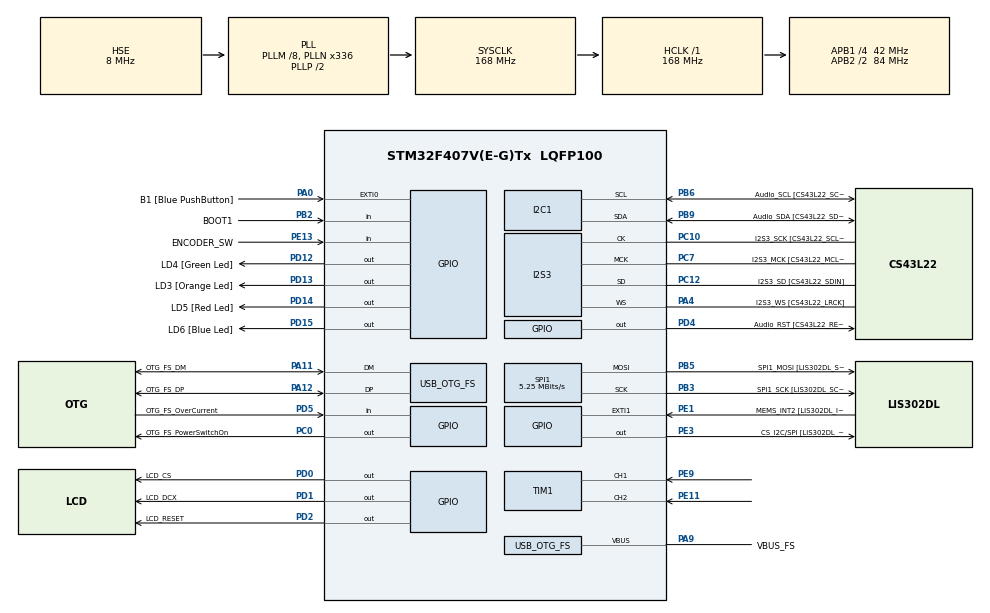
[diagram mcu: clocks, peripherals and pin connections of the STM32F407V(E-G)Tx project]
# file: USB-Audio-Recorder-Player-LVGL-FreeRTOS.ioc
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Dma.Request0=SPI1_TX
Dma.SPI1_TX.0.Direction=DMA_MEMORY_TO_PERIPH
Dma.SPI1_TX.0.FIFOMode=DMA_FIFOMODE_DISABLE
Dma.SPI1_TX.0.Instance=DMA2_Stream3
Dma.SPI1_TX.0.MemDataAlignment=DMA_MDATAALIGN_HALFWORD
Dma.SPI1_TX.0.MemInc=DMA_MINC_ENABLE
Dma.SPI1_TX.0.Mode=DMA_NORMAL
Dma.SPI1_TX.0.PeriphDataAlignment=DMA_PDATAALIGN_HALFWORD
Dma.SPI1_TX.0.PeriphInc=DMA_PINC_DISABLE
Dma.SPI1_TX.0.Priority=DMA_PRIORITY_MEDIUM
FREERTOS.Queues01=UiEventQueue,8,AppEvent,0,Dynamic,NULL,NULL
FREERTOS.Tasks01=StorageTask,16,1536,StartStorageTask,Default,NULL,Dynamic,NULL,NULL;AudioTask,32,1024,StartAudioTask,Default,NULL,Dynamic,NULL,NULL;UiTask,24,1536,StartUiTask,Default,NULL,Dynamic,NULL,NULL
FREERTOS.configCHECK_FOR_STACK_OVERFLOW=2
FREERTOS.configTOTAL_HEAP_SIZE=24576
FREERTOS.configUSE_MALLOC_FAILED_HOOK=1
I2S3.AudioFreq-Half_Duplex_Master=I2S_AUDIOFREQ_96K
I2S3.ErrorAudioFreq=-2.34 %
I2S3.ErrorAudioFreq-Half_Duplex_Master=0.8 %
I2S3.FullDuplexMode=I2S_FULLDUPLEXMODE_DISABLE
I2S3.Instance=SPI$Index
I2S3.RealAudioFreq=93.75 KHz
I2S3.RealAudioFreq-Half_Duplex_Master=96.774 KHz
I2S3.VirtualMode=I2S_MODE_MASTER
Mcu.Family=STM32F4
Mcu.Name=STM32F407V(E-G)Tx
Mcu.Package=LQFP100
NVIC.DMA2_Stream3_IRQn=true\:5\:0\:false\:false\:true\:true\:false\:true\:true
NVIC.OTG_FS_IRQn=true\:5\:0\:false\:false\:true\:true\:true\:true\:true
NVIC.PriorityGroup=NVIC_PRIORITYGROUP_4
NVIC.SPI1_IRQn=true\:5\:0\:false\:false\:true\:true\:true\:true\:true
NVIC.TIM6_DAC_IRQn=true\:15\:0\:false\:false\:true\:false\:false\:true\:true
NVIC.TimeBase=TIM6_DAC_IRQn
NVIC.TimeBaseIP=TIM6
PA0-WKUP.GPIO_Label=B1 [Blue PushButton]
PA0-WKUP.GPIO_ModeDefaultEXTI=GPIO_MODE_EVT_RISING
PA0-WKUP.GPIO_PuPd=GPIO_NOPULL
PA0-WKUP.Signal=GPXTI0
PA10.GPIO_Label=OTG_FS_ID
PA10.GPIO_Mode=GPIO_MODE_AF_PP
PA10.GPIO_PuPd=GPIO_NOPULL
PA10.GPIO_Speed=GPIO_SPEED_FREQ_LOW
PA10.Signal=USB_OTG_FS_ID
PA11.GPIO_Label=OTG_FS_DM
PA11.GPIO_Mode=GPIO_MODE_AF_PP
PA11.GPIO_PuPd=GPIO_NOPULL
PA11.GPIO_Speed=GPIO_SPEED_FREQ_LOW
PA11.Mode=Host_Only
PA11.Signal=USB_OTG_FS_DM
PA12.GPIO_Label=OTG_FS_DP
PA12.GPIO_Mode=GPIO_MODE_AF_PP
PA12.GPIO_PuPd=GPIO_NOPULL
PA12.GPIO_Speed=GPIO_SPEED_FREQ_LOW
PA12.Mode=Host_Only
PA12.Signal=USB_OTG_FS_DP
PA13.GPIO_Label=SWDIO
PA13.Mode=Serial_Wire
PA13.Signal=SYS_JTMS-SWDIO
PA14.GPIO_Label=SWCLK
PA14.Mode=Serial_Wire
PA14.Signal=SYS_JTCK-SWCLK
PA4.GPIO_Label=I2S3_WS [CS43L22_LRCK]
PA4.GPIO_Mode=GPIO_MODE_AF_PP
PA4.GPIO_PuPd=GPIO_NOPULL
PA4.GPIO_Speed=GPIO_SPEED_FREQ_LOW
PA4.Mode=Half_Duplex_Master
PA4.Signal=I2S3_WS
PA9.GPIO_Label=VBUS_FS
PA9.GPIO_Mode=GPIO_MODE_INPUT
PA9.GPIO_PuPd=GPIO_NOPULL
PA9.Mode=Activate_VBUS
PA9.Signal=USB_OTG_FS_VBUS
PB10.GPIO_Label=CLK_IN [MP45DT02_CLK]
PB10.GPIO_Mode=GPIO_MODE_AF_PP
PB10.GPIO_PuPd=GPIO_NOPULL
PB10.GPIO_Speed=GPIO_SPEED_FREQ_LOW
PB10.Signal=I2S2_CK
PB2.GPIO_Label=BOOT1
PB2.GPIO_Mode=GPIO_MODE_INPUT
PB2.GPIO_PuPd=GPIO_NOPULL
PB2.Signal=GPIO_Input
PB3.GPIO_Label=SPI1_SCK [LIS302DL_SCL/SPC]
PB3.GPIO_Mode=GPIO_MODE_AF_PP
PB3.GPIO_PuPd=GPIO_NOPULL
PB3.GPIO_Speed=GPIO_SPEED_FREQ_HIGH
PB3.Mode=TX_Only_Simplex_Unidirect_Master
PB3.Signal=SPI1_SCK
PB5.GPIO_Label=SPI1_MOSI [LIS302DL_SDA/SDI/SDO]
PB5.GPIO_Mode=GPIO_MODE_AF_PP
PB5.GPIO_PuPd=GPIO_NOPULL
PB5.GPIO_Speed=GPIO_SPEED_FREQ_HIGH
PB5.Mode=TX_Only_Simplex_Unidirect_Master
PB5.Signal=SPI1_MOSI
PB6.GPIO_Label=Audio_SCL [CS43L22_SCL]
PB6.GPIO_Mode=GPIO_MODE_AF_OD
PB6.GPIO_Pu=GPIO_PULLUP
PB6.GPIO_PuPd=GPIO_NOPULL
PB6.GPIO_Speed=GPIO_SPEED_FREQ_LOW
PB6.Mode=I2C
PB6.Signal=I2C1_SCL
PB9.GPIO_Label=Audio_SDA [CS43L22_SDA]
PB9.GPIO_Mode=GPIO_MODE_AF_OD
PB9.GPIO_Pu=GPIO_PULLUP
PB9.GPIO_PuPd=GPIO_NOPULL
PB9.GPIO_Speed=GPIO_SPEED_FREQ_LOW
PB9.Mode=I2C
PB9.Signal=I2C1_SDA
PC0.GPIO_Label=OTG_FS_PowerSwitchOn
PC0.GPIO_PuPd=GPIO_NOPULL
PC0.GPIO_Speed=GPIO_SPEED_FREQ_LOW
PC0.PinState=GPIO_PIN_SET
PC0.Signal=GPIO_Output
PC10.GPIO_Label=I2S3_SCK [CS43L22_SCLK]
PC10.GPIO_Mode=GPIO_MODE_AF_PP
PC10.GPIO_PuPd=GPIO_NOPULL
PC10.GPIO_Speed=GPIO_SPEED_FREQ_LOW
PC10.Mode=Half_Duplex_Master
PC10.Signal=I2S3_CK
PC12.GPIO_Label=I2S3_SD [CS43L22_SDIN]
PC12.GPIO_Mode=GPIO_MODE_AF_PP
PC12.GPIO_PuPd=GPIO_NOPULL
PC12.GPIO_Speed=GPIO_SPEED_FREQ_LOW
PC12.Mode=Half_Duplex_Master
PC12.Signal=I2S3_SD
PC14-OSC32_IN.GPIO_Label=PC14-OSC32_IN
PC14-OSC32_IN.Mode=LSE-External-Oscillator
PC14-OSC32_IN.Signal=RCC_OSC32_IN
PC15-OSC32_OUT.GPIO_Label=PC15-OSC32_OUT
PC15-OSC32_OUT.Mode=LSE-External-Oscillator
PC15-OSC32_OUT.Signal=RCC_OSC32_OUT
PC3.GPIO_Label=PDM_OUT [MP45DT02_DOUT]
PC3.GPIO_Mode=GPIO_MODE_AF_PP
PC3.GPIO_PuPd=GPIO_NOPULL
PC3.GPIO_Speed=GPIO_SPEED_FREQ_LOW
PC3.Signal=I2S2_SD
PC7.GPIO_Label=I2S3_MCK [CS43L22_MCLK]
PC7.GPIO_Mode=GPIO_MODE_AF_PP
PC7.GPIO_PuPd=GPIO_NOPULL
PC7.GPIO_Speed=GPIO_SPEED_FREQ_LOW
PC7.Mode=Master_Clock_Activated
PC7.Signal=I2S3_MCK
PD0.GPIO_Label=LCD_CS
PD0.PinState=GPIO_PIN_SET
PD0.Signal=GPIO_Output
PD1.GPIO_Label=LCD_DCX
PD1.PinState=GPIO_PIN_SET
PD1.Signal=GPIO_Output
PD12.GPIO_Label=LD4 [Green Led]
PD12.GPIO_PuPd=GPIO_NOPULL
PD12.GPIO_Speed=GPIO_SPEED_FREQ_LOW
PD12.Signal=GPIO_Output
PD13.GPIO_Label=LD3 [Orange Led]
PD13.GPIO_PuPd=GPIO_NOPULL
PD13.GPIO_Speed=GPIO_SPEED_FREQ_LOW
PD13.Signal=GPIO_Output
PD14.GPIO_Label=LD5 [Red Led]
PD14.GPIO_PuPd=GPIO_NOPULL
PD14.GPIO_Speed=GPIO_SPEED_FREQ_LOW
PD14.Signal=GPIO_Output
PD15.GPIO_Label=LD6 [Blue Led]
PD15.GPIO_PuPd=GPIO_NOPULL
PD15.GPIO_Speed=GPIO_SPEED_FREQ_LOW
PD15.Signal=GPIO_Output
PD2.GPIO_Label=LCD_RESET
PD2.PinState=GPIO_PIN_SET
PD2.Signal=GPIO_Output
PD4.GPIO_Label=Audio_RST [CS43L22_RESET]
PD4.GPIO_PuPd=GPIO_NOPULL
PD4.GPIO_Speed=GPIO_SPEED_FREQ_LOW
PD4.Signal=GPIO_Output
PD5.GPIO_Label=OTG_FS_OverCurrent
PD5.GPIO_Mode=GPIO_MODE_INPUT
PD5.GPIO_PuPd=GPIO_NOPULL
PD5.Signal=GPIO_Input
PE1.GPIO_Label=MEMS_INT2 [LIS302DL_INT2]
PE1.GPIO_ModeDefaultEXTI=GPIO_MODE_EVT_RISING
PE1.GPIO_PuPd=GPIO_NOPULL
PE1.Signal=GPXTI1
PE11.GPIO_PuPd=GPIO_PULLUP
PE11.Signal=S_TIM1_CH2
PE13.GPIO_Label=ENCODER_SW
PE13.GPIO_PuPd=GPIO_PULLUP
PE13.Signal=GPIO_Input
PE3.GPIO_Label=CS_I2C/SPI [LIS302DL_CS_I2C/SPI]
PE3.GPIO_PuPd=GPIO_NOPULL
PE3.GPIO_Speed=GPIO_SPEED_FREQ_LOW
PE3.Signal=GPIO_Output
PE9.GPIO_PuPd=GPIO_PULLUP
PE9.Signal=S_TIM1_CH1
PH0-OSC_IN.GPIO_Label=PH0-OSC_IN
PH0-OSC_IN.Mode=HSE-External-Oscillator
PH0-OSC_IN.Signal=RCC_OSC_IN
PH1-OSC_OUT.GPIO_Label=PH1-OSC_OUT
PH1-OSC_OUT.Mode=HSE-External-Oscillator
PH1-OSC_OUT.Signal=RCC_OSC_OUT
ProjectManager.HeapSize=0x200
ProjectManager.StackSize=0x400
ProjectManager.TargetToolchain=CMake
RCC.48MHZClocksFreq_Value=48000000
RCC.AHBFreq_Value=168000000
RCC.APB1CLKDivider=RCC_HCLK_DIV4
RCC.APB1Freq_Value=42000000
RCC.APB1TimFreq_Value=84000000
RCC.APB2CLKDivider=RCC_HCLK_DIV2
RCC.APB2Freq_Value=84000000
RCC.APB2TimFreq_Value=168000000
RCC.CortexFreq_Value=168000000
RCC.HCLKFreq_Value=168000000
RCC.HSE_VALUE=8000000
RCC.HSI_VALUE=16000000
RCC.PLLM=8
RCC.PLLN=336
RCC.PLLQ=7
RCC.SYSCLKFreq_VALUE=168000000
RCC.SYSCLKSource=RCC_SYSCLKSOURCE_PLLCLK
RCC.VCOOutputFreq_Value=336000000
SH.S_TIM1_CH1.0=TIM1_CH1,Encoder_Interface
SH.S_TIM1_CH2.0=TIM1_CH2,Encoder_Interface
SPI1.BaudRatePrescaler=SPI_BAUDRATEPRESCALER_16
SPI1.CalculateBaudRate=5.25 MBits/s
SPI1.Direction=SPI_DIRECTION_2LINES
SPI1.Mode=SPI_MODE_MASTER
SPI1.VirtualType=VM_MASTER
TIM1.EncoderMode=TIM_ENCODERMODE_TI1
TIM1.IC1Filter=15
TIM1.IC2Filter=15
USB_HOST.BSP.number=1
USB_HOST.USBH_HandleTypeDef-MSC_FS=hUsbHostFS
USB_HOST.USBH_PROCESS_STACK_SIZE-MSC_FS=1024
USB_HOST.VirtualModeFS=Msc
USB_HOST0.BSP.STBoard=false
USB_HOST0.BSP.api=Unknown
USB_HOST0.BSP.instance=PC0
USB_HOST0.BSP.ip=GPIO
USB_HOST0.BSP.mode=Output
USB_HOST0.BSP.name=Drive_VBUS_FS
USB_HOST0.BSP.solution=PC0
USB_OTG_FS.VirtualMode=Host_Only
USB_OTG_FS.phy_itface=HCD_PHY_EMBEDDED
VP_FREERTOS_VS_CMSIS_V2.Mode=CMSIS_V2
VP_SYS_VS_tim6.Mode=TIM6
VP_USB_HOST_VS_USB_HOST_MSC_FS.Mode=MSC_FS
board=STM32F407G-DISC1

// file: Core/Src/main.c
/* USER CODE BEGIN Header */
/**
  ******************************************************************************
  * @file           : main.c
  * @brief          : Main program body
  ******************************************************************************
  * @attention
  *
  * Copyright (c) 2026 STMicroelectronics.
  * All rights reserved.
  *
  * This software is licensed under terms that can be found in the LICENSE file
  * in the root directory of this software component.
  * If no LICENSE file comes with this software, it is provided AS-IS.
  *
  ******************************************************************************
  */
/* USER CODE END Header */
#include "main.h"
#include "cmsis_os.h"
#include "usb_host.h"

/* USER CODE BEGIN Includes */
#include <stddef.h>
#include "app_events.h"
#include "app_memory.h"
#include "encoder.h"
#include "lvgl/lvgl.h"
#include "FreeRTOS.h"
#include "portable.h"
#include "usbh_core.h"

/* USER CODE END Includes */

/* USER CODE BEGIN PD */
#define LCD_H_RES       240
#define LCD_V_RES       320
#define BUS_SPI1_POLL_TIMEOUT 0x1000U
/* USER CODE END PD */

I2C_HandleTypeDef hi2c1;

I2S_HandleTypeDef hi2s3;

SPI_HandleTypeDef hspi1;
DMA_HandleTypeDef hdma_spi1_tx;

TIM_HandleTypeDef htim1;

/* Definitions for StorageTask */
osThreadId_t StorageTaskHandle;
const osThreadAttr_t StorageTask_attributes = {
  .name = "StorageTask",
  .stack_size = 1536 * 4,
  .priority = (osPriority_t) osPriorityBelowNormal,
};
/* Definitions for AudioTask */
osThreadId_t AudioTaskHandle;
const osThreadAttr_t AudioTask_attributes = {
  .name = "AudioTask",
  .stack_size = 1024 * 4,
  .priority = (osPriority_t) osPriorityAboveNormal,
};
/* Definitions for UiTask */
osThreadId_t UiTaskHandle;
const osThreadAttr_t UiTask_attributes = {
  .name = "UiTask",
  .stack_size = 1536 * 4,
  .priority = (osPriority_t) osPriorityNormal,
};
/* Definitions for UiEventQueue */
osMessageQueueId_t UiEventQueueHandle;
const osMessageQueueAttr_t UiEventQueue_attributes = {
  .name = "UiEventQueue"
};
/* USER CODE BEGIN PV */
extern USBH_HandleTypeDef hUsbHostFS;
extern uint8_t _end;
extern void *_sbrk(ptrdiff_t incr);
volatile AppFault app_fault_code = APP_FAULT_NONE;
volatile AppMemoryStats app_memory_stats;
lv_display_t *lcd_disp;
volatile int lcd_bus_busy = 0;

/* USER CODE END PV */

void SystemClock_Config(void);
static void MX_GPIO_Init(void);
static void MX_DMA_Init(void);
static void MX_I2C1_Init(void);
static void MX_I2S3_Init(void);
static void MX_SPI1_Init(void);
static void MX_TIM1_Init(void);
void StartStorageTask(void *argument);
void StartAudioTask(void *argument);
void StartUiTask(void *argument);

/* USER CODE BEGIN 0 */
static void AppFail(AppFault fault)
{
  app_fault_code = fault;
  Error_Handler();
}

static void AppUpdateMemoryStats(void)
{
  osThreadId_t usb_task = hUsbHostFS.thread;
  uint32_t c_heap_bytes = (uint32_t)((uintptr_t)_sbrk(0) - (uintptr_t)&_end);

  app_memory_stats.free_heap_bytes = (uint32_t)xPortGetFreeHeapSize();
  app_memory_stats.min_free_heap_bytes = (uint32_t)xPortGetMinimumEverFreeHeapSize();
  app_memory_stats.c_heap_current_bytes = c_heap_bytes;
  if (c_heap_bytes > app_memory_stats.c_heap_peak_bytes)
  {
    app_memory_stats.c_heap_peak_bytes = c_heap_bytes;
  }
  app_memory_stats.storage_stack_min_free_bytes = osThreadGetStackSpace(StorageTaskHandle);
  app_memory_stats.audio_stack_min_free_bytes = osThreadGetStackSpace(AudioTaskHandle);
  app_memory_stats.ui_stack_min_free_bytes = osThreadGetStackSpace(UiTaskHandle);
  app_memory_stats.usb_task_present = (usb_task != NULL);
  app_memory_stats.usb_stack_min_free_bytes =
      (usb_task != NULL) ? osThreadGetStackSpace(usb_task) : 0U;
  app_memory_stats.queue_capacity = osMessageQueueGetCapacity(UiEventQueueHandle);
  app_memory_stats.queue_item_bytes = osMessageQueueGetMsgSize(UiEventQueueHandle);
  app_memory_stats.queue_pending = osMessageQueueGetCount(UiEventQueueHandle);
  app_memory_stats.sample_count++;
}

static void EncoderRead(lv_indev_t *indev, lv_indev_data_t *data)
{
  (void)indev;
  data->enc_diff = Encoder_ReadDelta();
  data->state = Encoder_IsPressed() ? LV_INDEV_STATE_PRESSED : LV_INDEV_STATE_RELEASED;
}

static void ButtonClicked(lv_event_t *event)
{
  static uint32_t click_count = 0;
  lv_obj_t *status_label = lv_event_get_user_data(event);
  lv_obj_t *button = lv_event_get_target_obj(event);
  lv_obj_t *label = lv_obj_get_child(button, 0);

  click_count++;
  lv_label_set_text_fmt(status_label, "Last: %s | Clicks: %lu",
                       lv_label_get_text(label), (unsigned long)click_count);
}

/* USER CODE END 0 */

int main(void)
{

  /* MCU Configuration--------------------------------------------------------*/

  /* Reset of all peripherals, Initializes the Flash interface and the Systick. */
  HAL_Init();

  /* Configure the system clock */
  SystemClock_Config();

  /* Initialize all configured peripherals */
  MX_GPIO_Init();
  MX_DMA_Init();
  MX_I2C1_Init();
  MX_I2S3_Init();
  MX_SPI1_Init();
  MX_TIM1_Init();

  /* Init scheduler */
  osKernelInitialize();

  /* Create the queue(s) */
  /* creation of UiEventQueue */
  UiEventQueueHandle = osMessageQueueNew (8, sizeof(AppEvent), &UiEventQueue_attributes);

  /* USER CODE BEGIN RTOS_QUEUES */
  if (UiEventQueueHandle == NULL)
  {
    AppFail(APP_FAULT_QUEUE_CREATE);
  }
  /* USER CODE END RTOS_QUEUES */

  /* Create the thread(s) */
  /* creation of StorageTask */
  StorageTaskHandle = osThreadNew(StartStorageTask, NULL, &StorageTask_attributes);

  /* creation of AudioTask */
  AudioTaskHandle = osThreadNew(StartAudioTask, NULL, &AudioTask_attributes);

  /* creation of UiTask */
  UiTaskHandle = osThreadNew(StartUiTask, NULL, &UiTask_attributes);

  /* Start scheduler */
  osKernelStart();

  /* We should never get here as control is now taken by the scheduler */

  /* Infinite loop */
  while (1)
  {

  }
}

void SystemClock_Config(void)
{
  RCC_OscInitTypeDef RCC_OscInitStruct = {0};
  RCC_ClkInitTypeDef RCC_ClkInitStruct = {0};

  /** Configure the main internal regulator output voltage
  */
  __HAL_RCC_PWR_CLK_ENABLE();
  __HAL_PWR_VOLTAGESCALING_CONFIG(PWR_REGULATOR_VOLTAGE_SCALE1);

  /** Initializes the RCC Oscillators according to the specified parameters
  * in the RCC_OscInitTypeDef structure.
  */
  RCC_OscInitStruct.OscillatorType = RCC_OSCILLATORTYPE_HSE;
  RCC_OscInitStruct.HSEState = RCC_HSE_ON;
  RCC_OscInitStruct.PLL.PLLState = RCC_PLL_ON;
  RCC_OscInitStruct.PLL.PLLSource = RCC_PLLSOURCE_HSE;
  RCC_OscInitStruct.PLL.PLLM = 8;
  RCC_OscInitStruct.PLL.PLLN = 336;
  RCC_OscInitStruct.PLL.PLLP = RCC_PLLP_DIV2;
  RCC_OscInitStruct.PLL.PLLQ = 7;
  if (HAL_RCC_OscConfig(&RCC_OscInitStruct) != HAL_OK)
  {
    Error_Handler();
  }

  /** Initializes the CPU, AHB and APB buses clocks
  */
  RCC_ClkInitStruct.ClockType = RCC_CLOCKTYPE_HCLK|RCC_CLOCKTYPE_SYSCLK
                              |RCC_CLOCKTYPE_PCLK1|RCC_CLOCKTYPE_PCLK2;
  RCC_ClkInitStruct.SYSCLKSource = RCC_SYSCLKSOURCE_PLLCLK;
  RCC_ClkInitStruct.AHBCLKDivider = RCC_SYSCLK_DIV1;
  RCC_ClkInitStruct.APB1CLKDivider = RCC_HCLK_DIV4;
  RCC_ClkInitStruct.APB2CLKDivider = RCC_HCLK_DIV2;

  if (HAL_RCC_ClockConfig(&RCC_ClkInitStruct, FLASH_LATENCY_5) != HAL_OK)
  {
    Error_Handler();
  }
}

static void MX_I2C1_Init(void)
{

  hi2c1.Instance = I2C1;
  hi2c1.Init.ClockSpeed = 100000;
  hi2c1.Init.DutyCycle = I2C_DUTYCYCLE_2;
  hi2c1.Init.OwnAddress1 = 0;
  hi2c1.Init.AddressingMode = I2C_ADDRESSINGMODE_7BIT;
  hi2c1.Init.DualAddressMode = I2C_DUALADDRESS_DISABLE;
  hi2c1.Init.OwnAddress2 = 0;
  hi2c1.Init.GeneralCallMode = I2C_GENERALCALL_DISABLE;
  hi2c1.Init.NoStretchMode = I2C_NOSTRETCH_DISABLE;
  if (HAL_I2C_Init(&hi2c1) != HAL_OK)
  {
    Error_Handler();
  }

}

static void MX_I2S3_Init(void)
{

  hi2s3.Instance = SPI3;
  hi2s3.Init.Mode = I2S_MODE_MASTER_TX;
  hi2s3.Init.Standard = I2S_STANDARD_PHILIPS;
  hi2s3.Init.DataFormat = I2S_DATAFORMAT_16B;
  hi2s3.Init.MCLKOutput = I2S_MCLKOUTPUT_ENABLE;
  hi2s3.Init.AudioFreq = I2S_AUDIOFREQ_96K;
  hi2s3.Init.CPOL = I2S_CPOL_LOW;
  hi2s3.Init.ClockSource = I2S_CLOCK_PLL;
  hi2s3.Init.FullDuplexMode = I2S_FULLDUPLEXMODE_DISABLE;
  if (HAL_I2S_Init(&hi2s3) != HAL_OK)
  {
    Error_Handler();
  }

}

static void MX_SPI1_Init(void)
{

  /* SPI1 parameter configuration*/
  hspi1.Instance = SPI1;
  hspi1.Init.Mode = SPI_MODE_MASTER;
  hspi1.Init.Direction = SPI_DIRECTION_2LINES;
  hspi1.Init.DataSize = SPI_DATASIZE_8BIT;
  hspi1.Init.CLKPolarity = SPI_POLARITY_LOW;
  hspi1.Init.CLKPhase = SPI_PHASE_1EDGE;
  hspi1.Init.NSS = SPI_NSS_SOFT;
  hspi1.Init.BaudRatePrescaler = SPI_BAUDRATEPRESCALER_16;
  hspi1.Init.FirstBit = SPI_FIRSTBIT_MSB;
  hspi1.Init.TIMode = SPI_TIMODE_DISABLE;
  hspi1.Init.CRCCalculation = SPI_CRCCALCULATION_DISABLE;
  hspi1.Init.CRCPolynomial = 10;
  if (HAL_SPI_Init(&hspi1) != HAL_OK)
  {
    Error_Handler();
  }

}

static void MX_TIM1_Init(void)
{

  TIM_Encoder_InitTypeDef sConfig = {0};
  TIM_MasterConfigTypeDef sMasterConfig = {0};

  htim1.Instance = TIM1;
  htim1.Init.Prescaler = 0;
  htim1.Init.CounterMode = TIM_COUNTERMODE_UP;
  htim1.Init.Period = 65535;
  htim1.Init.ClockDivision = TIM_CLOCKDIVISION_DIV1;
  htim1.Init.RepetitionCounter = 0;
  htim1.Init.AutoReloadPreload = TIM_AUTORELOAD_PRELOAD_DISABLE;
  sConfig.EncoderMode = TIM_ENCODERMODE_TI1;
  sConfig.IC1Polarity = TIM_ICPOLARITY_RISING;
  sConfig.IC1Selection = TIM_ICSELECTION_DIRECTTI;
  sConfig.IC1Prescaler = TIM_ICPSC_DIV1;
  sConfig.IC1Filter = 15;
  sConfig.IC2Polarity = TIM_ICPOLARITY_RISING;
  sConfig.IC2Selection = TIM_ICSELECTION_DIRECTTI;
  sConfig.IC2Prescaler = TIM_ICPSC_DIV1;
  sConfig.IC2Filter = 15;
  if (HAL_TIM_Encoder_Init(&htim1, &sConfig) != HAL_OK)
  {
    Error_Handler();
  }
  sMasterConfig.MasterOutputTrigger = TIM_TRGO_RESET;
  sMasterConfig.MasterSlaveMode = TIM_MASTERSLAVEMODE_DISABLE;
  if (HAL_TIMEx_MasterConfigSynchronization(&htim1, &sMasterConfig) != HAL_OK)
  {
    Error_Handler();
  }

}

static void MX_DMA_Init(void)
{

  /* DMA controller clock enable */
  __HAL_RCC_DMA2_CLK_ENABLE();

  /* DMA interrupt init */
  /* DMA2_Stream3_IRQn interrupt configuration */
  HAL_NVIC_SetPriority(DMA2_Stream3_IRQn, 5, 0);
  HAL_NVIC_EnableIRQ(DMA2_Stream3_IRQn);

}

static void MX_GPIO_Init(void)
{
  GPIO_InitTypeDef GPIO_InitStruct = {0};

  /* GPIO Ports Clock Enable */
  __HAL_RCC_GPIOE_CLK_ENABLE();
  __HAL_RCC_GPIOC_CLK_ENABLE();
  __HAL_RCC_GPIOH_CLK_ENABLE();
  __HAL_RCC_GPIOA_CLK_ENABLE();
  __HAL_RCC_GPIOB_CLK_ENABLE();
  __HAL_RCC_GPIOD_CLK_ENABLE();

  /*Configure GPIO pin Output Level */
  HAL_GPIO_WritePin(CS_I2C_SPI_GPIO_Port, CS_I2C_SPI_Pin, GPIO_PIN_RESET);

  /*Configure GPIO pin Output Level */
  HAL_GPIO_WritePin(OTG_FS_PowerSwitchOn_GPIO_Port, OTG_FS_PowerSwitchOn_Pin, GPIO_PIN_SET);

  /*Configure GPIO pin Output Level */
  HAL_GPIO_WritePin(GPIOD, LD4_Pin|LD3_Pin|LD5_Pin|LD6_Pin
                          |Audio_RST_Pin, GPIO_PIN_RESET);

  /*Configure GPIO pin Output Level */
  HAL_GPIO_WritePin(GPIOD, LCD_CS_Pin|LCD_DCX_Pin|LCD_RESET_Pin, GPIO_PIN_SET);

  /*Configure GPIO pin : CS_I2C_SPI_Pin */
  GPIO_InitStruct.Pin = CS_I2C_SPI_Pin;
  GPIO_InitStruct.Mode = GPIO_MODE_OUTPUT_PP;
  GPIO_InitStruct.Pull = GPIO_NOPULL;
  GPIO_InitStruct.Speed = GPIO_SPEED_FREQ_LOW;
  HAL_GPIO_Init(CS_I2C_SPI_GPIO_Port, &GPIO_InitStruct);

  /*Configure GPIO pin : OTG_FS_PowerSwitchOn_Pin */
  GPIO_InitStruct.Pin = OTG_FS_PowerSwitchOn_Pin;
  GPIO_InitStruct.Mode = GPIO_MODE_OUTPUT_PP;
  GPIO_InitStruct.Pull = GPIO_NOPULL;
  GPIO_InitStruct.Speed = GPIO_SPEED_FREQ_LOW;
  HAL_GPIO_Init(OTG_FS_PowerSwitchOn_GPIO_Port, &GPIO_InitStruct);

  /*Configure GPIO pin : PDM_OUT_Pin */
  GPIO_InitStruct.Pin = PDM_OUT_Pin;
  GPIO_InitStruct.Mode = GPIO_MODE_AF_PP;
  GPIO_InitStruct.Pull = GPIO_NOPULL;
  GPIO_InitStruct.Speed = GPIO_SPEED_FREQ_LOW;
  GPIO_InitStruct.Alternate = GPIO_AF5_SPI2;
  HAL_GPIO_Init(PDM_OUT_GPIO_Port, &GPIO_InitStruct);

  /*Configure GPIO pin : B1_Pin */
  GPIO_InitStruct.Pin = B1_Pin;
  GPIO_InitStruct.Mode = GPIO_MODE_EVT_RISING;
  GPIO_InitStruct.Pull = GPIO_NOPULL;
  HAL_GPIO_Init(B1_GPIO_Port, &GPIO_InitStruct);

  /*Configure GPIO pin : BOOT1_Pin */
  GPIO_InitStruct.Pin = BOOT1_Pin;
  GPIO_InitStruct.Mode = GPIO_MODE_INPUT;
  GPIO_InitStruct.Pull = GPIO_NOPULL;
  HAL_GPIO_Init(BOOT1_GPIO_Port, &GPIO_InitStruct);

  /*Configure GPIO pin : ENCODER_SW_Pin */
  GPIO_InitStruct.Pin = ENCODER_SW_Pin;
  GPIO_InitStruct.Mode = GPIO_MODE_INPUT;
  GPIO_InitStruct.Pull = GPIO_PULLUP;
  HAL_GPIO_Init(ENCODER_SW_GPIO_Port, &GPIO_InitStruct);

  /*Configure GPIO pin : CLK_IN_Pin */
  GPIO_InitStruct.Pin = CLK_IN_Pin;
  GPIO_InitStruct.Mode = GPIO_MODE_AF_PP;
  GPIO_InitStruct.Pull = GPIO_NOPULL;
  GPIO_InitStruct.Speed = GPIO_SPEED_FREQ_LOW;
  GPIO_InitStruct.Alternate = GPIO_AF5_SPI2;
  HAL_GPIO_Init(CLK_IN_GPIO_Port, &GPIO_InitStruct);

  /*Configure GPIO pins : LD4_Pin LD3_Pin LD5_Pin LD6_Pin
                           LCD_CS_Pin LCD_DCX_Pin LCD_RESET_Pin Audio_RST_Pin */
  GPIO_InitStruct.Pin = LD4_Pin|LD3_Pin|LD5_Pin|LD6_Pin
                          |LCD_CS_Pin|LCD_DCX_Pin|LCD_RESET_Pin|Audio_RST_Pin;
  GPIO_InitStruct.Mode = GPIO_MODE_OUTPUT_PP;
  GPIO_InitStruct.Pull = GPIO_NOPULL;
  GPIO_InitStruct.Speed = GPIO_SPEED_FREQ_LOW;
  HAL_GPIO_Init(GPIOD, &GPIO_InitStruct);

  /*Configure GPIO pin : OTG_FS_OverCurrent_Pin */
  GPIO_InitStruct.Pin = OTG_FS_OverCurrent_Pin;
  GPIO_InitStruct.Mode = GPIO_MODE_INPUT;
  GPIO_InitStruct.Pull = GPIO_NOPULL;
  HAL_GPIO_Init(OTG_FS_OverCurrent_GPIO_Port, &GPIO_InitStruct);

  /*Configure GPIO pin : MEMS_INT2_Pin */
  GPIO_InitStruct.Pin = MEMS_INT2_Pin;
  GPIO_InitStruct.Mode = GPIO_MODE_EVT_RISING;
  GPIO_InitStruct.Pull = GPIO_NOPULL;
  HAL_GPIO_Init(MEMS_INT2_GPIO_Port, &GPIO_InitStruct);

}

/* USER CODE BEGIN 4 */
void lcd_color_transfer_ready_cb(SPI_HandleTypeDef *hspi)
{
        /* CS high */
        HAL_GPIO_WritePin(LCD_CS_GPIO_Port, LCD_CS_Pin, GPIO_PIN_SET);
        lcd_bus_busy = 0;
        lv_display_flush_ready(lcd_disp);
}

/* Initialize LCD I/O bus, reset LCD */
static int32_t lcd_io_init(void)
{
        /* Register SPI Tx Complete Callback */
        HAL_StatusTypeDef status = HAL_SPI_RegisterCallback(
                &hspi1, HAL_SPI_TX_COMPLETE_CB_ID, lcd_color_transfer_ready_cb);
        if (status != HAL_OK)
        {
                return status;
        }

        /* reset LCD */
        HAL_GPIO_WritePin(LCD_RESET_GPIO_Port, LCD_RESET_Pin, GPIO_PIN_RESET);
        osDelay(100);
        HAL_GPIO_WritePin(LCD_RESET_GPIO_Port, LCD_RESET_Pin, GPIO_PIN_SET);
        osDelay(100);

        HAL_GPIO_WritePin(LCD_CS_GPIO_Port, LCD_CS_Pin, GPIO_PIN_SET);
        HAL_GPIO_WritePin(LCD_DCX_GPIO_Port, LCD_DCX_Pin, GPIO_PIN_SET);

        return HAL_OK;
}

/* Platform-specific implementation of the LCD send command function. In general this should use polling transfer. */
static void lcd_send_cmd(lv_display_t *disp, const uint8_t *cmd, size_t cmd_size, const uint8_t *param, size_t param_size)
{
        LV_UNUSED(disp);
        while (lcd_bus_busy);   /* wait until previous transfer is finished */
        /* Set the SPI in 8-bit mode */
        hspi1.Init.DataSize = SPI_DATASIZE_8BIT;
        HAL_SPI_Init(&hspi1);
        /* DCX low (command) */
        HAL_GPIO_WritePin(LCD_DCX_GPIO_Port, LCD_DCX_Pin, GPIO_PIN_RESET);
        /* CS low */
        HAL_GPIO_WritePin(LCD_CS_GPIO_Port, LCD_CS_Pin, GPIO_PIN_RESET);
        /* send command */
        if (HAL_SPI_Transmit(&hspi1, cmd, cmd_size, BUS_SPI1_POLL_TIMEOUT) == HAL_OK) {
                /* DCX high (data) */
                HAL_GPIO_WritePin(LCD_DCX_GPIO_Port, LCD_DCX_Pin, GPIO_PIN_SET);
                /* for short data blocks we use polling transfer */
                HAL_SPI_Transmit(&hspi1, (uint8_t *)param, (uint16_t)param_size, BUS_SPI1_POLL_TIMEOUT);
                /* CS high */
                HAL_GPIO_WritePin(LCD_CS_GPIO_Port, LCD_CS_Pin, GPIO_PIN_SET);
        }
}

/* Platform-specific implementation of the LCD send color function. For better performance this should use DMA transfer.
 * In case of a DMA transfer a callback must be installed to notify LVGL about the end of the transfer.
 */
static void lcd_send_color(lv_display_t *disp, const uint8_t *cmd, size_t cmd_size, uint8_t *param, size_t param_size)
{
        LV_UNUSED(disp);
        while (lcd_bus_busy);   /* wait until previous transfer is finished */
        /* Set the SPI in 8-bit mode */
        hspi1.Init.DataSize = SPI_DATASIZE_8BIT;
        HAL_SPI_Init(&hspi1);
        /* DCX low (command) */
        HAL_GPIO_WritePin(LCD_DCX_GPIO_Port, LCD_DCX_Pin, GPIO_PIN_RESET);
        /* CS low */
        HAL_GPIO_WritePin(LCD_CS_GPIO_Port, LCD_CS_Pin, GPIO_PIN_RESET);
        /* send command */
        if (HAL_SPI_Transmit(&hspi1, cmd, cmd_size, BUS_SPI1_POLL_TIMEOUT) == HAL_OK) {
                /* DCX high (data) */
                HAL_GPIO_WritePin(LCD_DCX_GPIO_Port, LCD_DCX_Pin, GPIO_PIN_SET);
                /* for color data use DMA transfer */
                /* Set the SPI in 16-bit mode to match endianness */
                hspi1.Init.DataSize = SPI_DATASIZE_16BIT;
                HAL_SPI_Init(&hspi1);
                lcd_bus_busy = 1;
                HAL_SPI_Transmit_DMA(&hspi1, param, (uint16_t)param_size / 2);
                /* NOTE: CS will be reset in the transfer ready callback */
        }
}
/* USER CODE END 4 */

void StartStorageTask(void *argument)
{
  /* init code for USB_HOST */
  MX_USB_HOST_Init();
  /* USER CODE BEGIN 5 */
  const AppEvent started = {APP_EVENT_TASK_STARTED, APP_SOURCE_STORAGE, 0};
  if (osMessageQueuePut(UiEventQueueHandle, &started, 0, 0) != osOK)
  {
    AppFail(APP_FAULT_QUEUE_SEND);
  }

  /* Green LED: storage task is running. */
  for(;;)
  {
    HAL_GPIO_TogglePin(GPIOD, LD4_Pin);
    osDelay(1000);
  }
  /* USER CODE END 5 */
}

void StartAudioTask(void *argument)
{
  /* USER CODE BEGIN StartAudioTask */
  const AppEvent started = {APP_EVENT_TASK_STARTED, APP_SOURCE_AUDIO, 0};
  if (osMessageQueuePut(UiEventQueueHandle, &started, 0, 0) != osOK)
  {
    AppFail(APP_FAULT_QUEUE_SEND);
  }

  /* Red LED: audio task is running. */
  for(;;)
  {
    HAL_GPIO_TogglePin(GPIOD, LD5_Pin);
    osDelay(250);
  }
  /* USER CODE END StartAudioTask */
}

void StartUiTask(void *argument)
{
  /* USER CODE BEGIN StartUiTask */
  uint32_t started_sources = 0;
  AppEvent event;

  if (!Encoder_Init(&htim1))
  {
    AppFail(APP_FAULT_ENCODER_START);
  }

  lv_init();
  lv_tick_set_cb(HAL_GetTick);
  if (lcd_io_init() != HAL_OK)
  {
    AppFail(APP_FAULT_DISPLAY_SPI);
  }

  /* Portrait display with RGB color order. */
  lcd_disp = lv_ili9341_create(LCD_H_RES, LCD_V_RES,
                             LV_LCD_FLAG_NONE,
                             lcd_send_cmd, lcd_send_color);
  if (lcd_disp == NULL)
  {
    AppFail(APP_FAULT_DISPLAY_MEMORY);
  }

  /* Two 1/10-screen RGB565 buffers: 15,360 bytes each from the LVGL pool. */
  const uint32_t buf_size = LCD_H_RES * LCD_V_RES / 10 * lv_color_format_get_size(lv_display_get_color_format(lcd_disp));
  void *buf1 = lv_malloc(buf_size);
  void *buf2 = lv_malloc(buf_size);
  if (buf1 == NULL || buf2 == NULL)
  {
    AppFail(APP_FAULT_DISPLAY_MEMORY);
  }
  lv_display_set_buffers(lcd_disp, buf1, buf2, buf_size,
                         LV_DISPLAY_RENDER_MODE_PARTIAL);

  lv_obj_t *screen = lv_display_get_screen_active(lcd_disp);
  lv_obj_set_style_bg_color(screen, lv_color_white(), 0);
  lv_obj_set_style_bg_opa(screen, LV_OPA_COVER, 0);
  lv_group_t *group = lv_group_create();
  lv_indev_t *encoder = lv_indev_create();
  if (group == NULL || encoder == NULL)
  {
    AppFail(APP_FAULT_UI_INPUT_MEMORY);
  }
  lv_group_set_editing(group, false);
  lv_group_set_wrap(group, true);

  lv_obj_t *status_label = lv_label_create(screen);
  if (status_label == NULL)
  {
    AppFail(APP_FAULT_DISPLAY_MEMORY);
  }
  lv_label_set_text(status_label, "Clicks: 0");
  lv_obj_set_style_text_color(status_label, lv_color_hex(0xFF0000), 0);
  lv_obj_set_style_text_font(status_label, &lv_font_montserrat_14, 0);
  lv_obj_align(status_label, LV_ALIGN_TOP_MID, 0, 16);

  const char *const button_names[] = {"Item 1", "Item 2", "Item 3"};
  for (uint32_t i = 0; i < 3U; i++)
  {
    lv_obj_t *button = lv_button_create(screen);
    if (button == NULL)
    {
      AppFail(APP_FAULT_DISPLAY_MEMORY);
    }
    lv_obj_set_size(button, 180, 48);
    lv_obj_align(button, LV_ALIGN_CENTER, 0, ((int32_t)i - 1) * 64);
    lv_obj_set_style_bg_color(button, lv_color_white(), 0);
    lv_obj_set_style_border_width(button, 2, 0);
    lv_obj_set_style_border_color(button, lv_color_hex(0xAAAAAA), 0);
    lv_obj_set_style_border_color(button, lv_color_hex(0xFF0000), LV_STATE_FOCUSED);
    /* Show our red focus border instead of the theme's keyboard outline. */
    lv_obj_set_style_outline_width(button, 0, LV_STATE_FOCUS_KEY);

    lv_obj_t *label = lv_label_create(button);
    if (label == NULL)
    {
      AppFail(APP_FAULT_DISPLAY_MEMORY);
    }
    lv_label_set_text(label, button_names[i]);
    lv_obj_set_style_text_color(label, lv_color_hex(0xFF0000), 0);
    lv_obj_set_style_text_font(label, &lv_font_montserrat_14, 0);
    lv_obj_center(label);
    if (lv_obj_add_event_cb(button, ButtonClicked, LV_EVENT_CLICKED, status_label) == NULL)
    {
      AppFail(APP_FAULT_UI_INPUT_MEMORY);
    }
    lv_group_add_obj(group, button);
    if (i == 0U)
    {
      lv_group_focus_obj(button);
    }
  }

  lv_indev_set_type(encoder, LV_INDEV_TYPE_ENCODER);
  lv_indev_set_read_cb(encoder, EncoderRead);
  lv_indev_set_display(encoder, lcd_disp);
  lv_indev_set_group(encoder, group);

  uint32_t last_status_tick = HAL_GetTick();
  for(;;)
  {
    osStatus_t status = osMessageQueueGet(UiEventQueueHandle, &event, NULL, 0);
    if (status == osOK && event.kind == APP_EVENT_TASK_STARTED)
    {
      started_sources |= event.source;
      if (started_sources == (APP_SOURCE_AUDIO | APP_SOURCE_STORAGE))
      {
        HAL_GPIO_WritePin(GPIOD, LD6_Pin, GPIO_PIN_SET);
      }
    }
    else if (status != osOK && status != osErrorResource)
    {
      AppFail(APP_FAULT_QUEUE_RECEIVE);
    }

    Encoder_PollButton();
    lv_timer_handler();
    uint32_t now = HAL_GetTick();
    if (now - last_status_tick >= 500U)
    {
      last_status_tick = now;
      HAL_GPIO_TogglePin(GPIOD, LD3_Pin);
      AppUpdateMemoryStats();
    }
    osDelay(10U);
  }
  /* USER CODE END StartUiTask */
}

void HAL_TIM_PeriodElapsedCallback(TIM_HandleTypeDef *htim)
{
  if (htim->Instance == TIM6)
  {
    HAL_IncTick();
  }
}

void Error_Handler(void)
{
  /* USER CODE BEGIN Error_Handler_Debug */
  /* A steady red LED distinguishes HAL errors from the FreeRTOS hooks. */
  __disable_irq();
  HAL_GPIO_WritePin(GPIOD, LD4_Pin | LD3_Pin | LD5_Pin, GPIO_PIN_RESET);
  HAL_GPIO_WritePin(GPIOD, LD5_Pin, GPIO_PIN_SET);
  while (1)
  {
  }
  /* USER CODE END Error_Handler_Debug */
}

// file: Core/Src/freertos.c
/* USER CODE BEGIN Header */
/**
  ******************************************************************************
  * File Name          : freertos.c
  * Description        : Code for freertos applications
  ******************************************************************************
  * @attention
  *
  * Copyright (c) 2026 STMicroelectronics.
  * All rights reserved.
  *
  * This software is licensed under terms that can be found in the LICENSE file
  * in the root directory of this software component.
  * If no LICENSE file comes with this software, it is provided AS-IS.
  *
  ******************************************************************************
  */
/* USER CODE END Header */

#include "FreeRTOS.h"
#include "task.h"
#include "main.h"

/* Hook prototypes */
void vApplicationStackOverflowHook(xTaskHandle xTask, signed char *pcTaskName);
void vApplicationMallocFailedHook(void);

/* USER CODE BEGIN 4 */
static void RtosFailure(uint16_t led_pin)
{
  __disable_irq();
  HAL_GPIO_WritePin(GPIOD, LD4_Pin | LD3_Pin | LD5_Pin, GPIO_PIN_RESET);
  HAL_GPIO_WritePin(GPIOD, led_pin, GPIO_PIN_SET);
  for (;;)
  {
  }
}

void vApplicationStackOverflowHook(xTaskHandle xTask, signed char *pcTaskName)
{
   /* Run time stack overflow checking is performed if
   configCHECK_FOR_STACK_OVERFLOW is defined to 1 or 2. This hook function is
   called if a stack overflow is detected. */
  (void)xTask;
  (void)pcTaskName;
  RtosFailure(LD4_Pin); /* Green: stack overflow. */
}
/* USER CODE END 4 */

/* USER CODE BEGIN 5 */
void vApplicationMallocFailedHook(void)
{
   /* vApplicationMallocFailedHook() will only be called if
   configUSE_MALLOC_FAILED_HOOK is set to 1 in FreeRTOSConfig.h. It is a hook
   function that will get called if a call to pvPortMalloc() fails.
   pvPortMalloc() is called internally by the kernel whenever a task, queue,
   timer or semaphore is created. It is also called by various parts of the
   demo application. If heap_1.c or heap_2.c are used, then the size of the
   heap available to pvPortMalloc() is defined by configTOTAL_HEAP_SIZE in
   FreeRTOSConfig.h, and the xPortGetFreeHeapSize() API function can be used
   to query the size of free heap space that remains (although it does not
   provide information on how the remaining heap might be fragmented). */
  RtosFailure(LD3_Pin); /* Orange: allocation failed. */
}
/* USER CODE END 5 */
